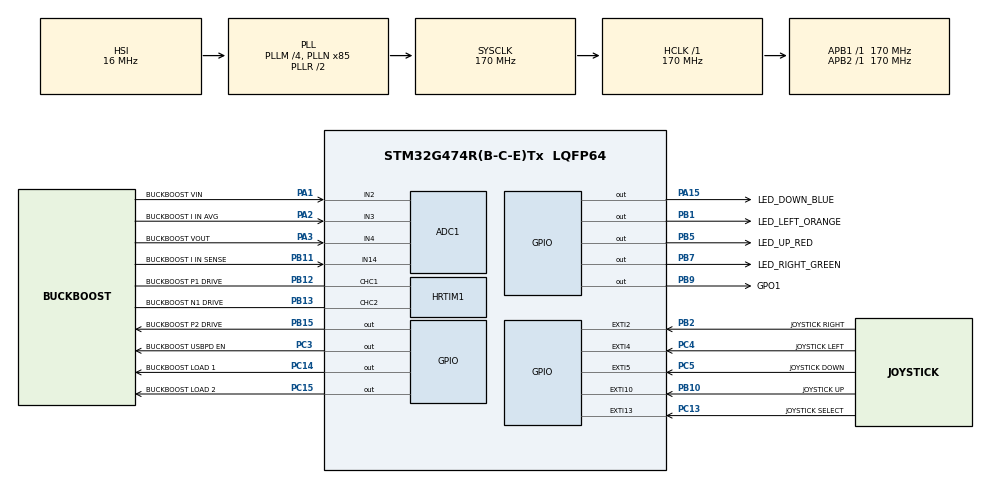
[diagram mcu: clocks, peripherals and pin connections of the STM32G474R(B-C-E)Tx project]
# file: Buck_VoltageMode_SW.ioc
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ADC1.Channel-0\#ChannelRegularConversion=ADC_CHANNEL_4
ADC1.DMAContinuousRequests=DISABLE
ADC1.DataAlign=ADC_DATAALIGN_RIGHT
ADC1.ExternalTrigConv=ADC_EXTERNALTRIG_HRTIM_TRG1
ADC1.NbrOfConversionFlag=1
ADC1.Offset-0\#ChannelRegularConversion=REF
ADC1.OffsetNumber-0\#ChannelRegularConversion=ADC_OFFSET_NONE
ADC1.Overrun=ADC_OVR_DATA_OVERWRITTEN
ADC1.Rank-0\#ChannelRegularConversion=1
ADC1.SamplingTime-0\#ChannelRegularConversion=ADC_SAMPLETIME_2CYCLES_5
ADC1.master=1
HRTIM1.ADCTrigger1_Source1=HRTIM_ADCTRIGGEREVENT13_TIMERC_CMP3
HRTIM1.ADCTrigger_Id1=HRTIM_ADCTRIGGER_1
HRTIM1.CompareUnit1-Output_TC1TC2=HRTIM_COMPAREUNIT_1
HRTIM1.CompareUnit2-Output_TC1TC2=HRTIM_COMPAREUNIT_2
HRTIM1.CompareUnit3-Output_TC1TC2=HRTIM_COMPAREUNIT_3
HRTIM1.CompareValue1-Output_TC1TC2=0
HRTIM1.CompareValue2-Output_TC1TC2=24480
HRTIM1.CompareValue3-Output_TC1TC2=50
HRTIM1.DeadTimeInsertion-Output_TC1TC2=HRTIM_TIMDEADTIMEINSERTION_ENABLED
HRTIM1.FallingValue-Output_TC1TC2=300
HRTIM1.FaultLevel1-Output_TC1TC2=HRTIM_OUTPUTFAULTLEVEL_INACTIVE
HRTIM1.FaultLevel2-Output_TC1TC2=HRTIM_OUTPUTFAULTLEVEL_INACTIVE
HRTIM1.GreaterCMP1_TC=HRTIM_TIMERGTCMP1_EQUAL
HRTIM1.NumberADCTriggerSource1=1
HRTIM1.NumberResetSource1-Output_TC1TC2=2
HRTIM1.NumberSetSource1-Output_TC1TC2=1
HRTIM1.Periode_TC=27200
HRTIM1.PreloadEnable-Output_TC1TC2=HRTIM_PRELOAD_DISABLED
HRTIM1.ResetOutput1_Source1-Output_TC1TC2=HRTIM_OUTPUTRESET_TIMCMP1
HRTIM1.ResetOutput1_Source2-Output_TC1TC2=HRTIM_OUTPUTRESET_TIMCMP2
HRTIM1.RisingValue-Output_TC1TC2=75
HRTIM1.SetOutput1_Source1-Output_TC1TC2=HRTIM_OUTPUTSET_TIMPER
Mcu.Family=STM32G4
Mcu.Name=STM32G474R(B-C-E)Tx
Mcu.Package=LQFP64
NVIC.ADC1_2_IRQn=true\:0\:0\:false\:false\:true\:true\:true\:true
NVIC.EXTI15_10_IRQn=true\:0\:0\:false\:false\:true\:true\:true\:true
NVIC.EXTI2_IRQn=true\:0\:0\:false\:false\:true\:true\:true\:true
NVIC.EXTI4_IRQn=true\:0\:0\:false\:false\:true\:true\:true\:true
NVIC.EXTI9_5_IRQn=true\:0\:0\:false\:false\:true\:true\:true\:true
NVIC.PriorityGroup=NVIC_PRIORITYGROUP_4
PA1.GPIO_Label=BUCKBOOST VIN
PA1.Mode=IN2-Single-Ended
PA1.Signal=ADC1_IN2
PA13.GPIO_Label=T_SWDIO
PA13.Mode=Trace_Asynchronous_SW
PA13.Signal=SYS_JTMS-SWDIO
PA14.GPIO_Label=T_SWCLK
PA14.Mode=Trace_Asynchronous_SW
PA14.Signal=SYS_JTCK-SWCLK
PA15.GPIO_Label=LED_DOWN_BLUE
PA15.GPIO_PuPd=GPIO_NOPULL
PA15.Signal=GPIO_Output
PA2.GPIO_Label=BUCKBOOST I IN AVG
PA2.Mode=IN3-Single-Ended
PA2.Signal=ADC1_IN3
PA3.GPIO_Label=BUCKBOOST VOUT
PA3.Mode=IN4-Single-Ended
PA3.Signal=ADC1_IN4
PB1.GPIO_Label=LED_LEFT_ORANGE
PB1.GPIO_PuPd=GPIO_NOPULL
PB1.Signal=GPIO_Output
PB10.GPIO_Label=JOYSTICK UP
PB10.GPIO_PuPd=GPIO_PULLUP
PB10.Signal=GPXTI10
PB11.GPIO_Label=BUCKBOOST I IN SENSE
PB11.Mode=IN14-Single-Ended
PB11.Signal=ADC1_IN14
PB12.GPIO_Label=BUCKBOOST P1 DRIVE
PB12.Mode=Output_TC1TC2
PB12.Signal=HRTIM1_CHC1
PB13.GPIO_Label=BUCKBOOST N1 DRIVE
PB13.Mode=Output_TC1TC2
PB13.Signal=HRTIM1_CHC2
PB14.GPIO_Label=BUCKBOOST N2 DRIVE
PB14.Signal=HRTIM1_CHD1
PB15.GPIO_Label=BUCKBOOST P2 DRIVE
PB15.Signal=GPIO_Output
PB2.GPIO_Label=JOYSTICK RIGHT
PB2.GPIO_ModeDefaultEXTI=GPIO_MODE_IT_RISING
PB2.GPIO_PuPd=GPIO_PULLUP
PB2.Signal=GPXTI2
PB3.GPIO_Label=T_SWO
PB3.Mode=Trace_Asynchronous_SW
PB3.Signal=SYS_JTDO-SWO
PB5.GPIO_Label=LED_UP_RED
PB5.GPIO_PuPd=GPIO_NOPULL
PB5.Signal=GPIO_Output
PB7.GPIO_Label=LED_RIGHT_GREEN
PB7.GPIO_PuPd=GPIO_NOPULL
PB7.Signal=GPIO_Output
PB9.GPIO_Label=GPO1
PB9.GPIO_Speed=GPIO_SPEED_FREQ_VERY_HIGH
PB9.Signal=GPIO_Output
PC10.Signal=USART3_TX
PC11.Signal=USART3_RX
PC13.GPIO_Label=JOYSTICK SELECT
PC13.GPIO_PuPd=GPIO_PULLUP
PC13.Signal=GPXTI13
PC14-OSC32_IN.GPIO_Label=BUCKBOOST LOAD 1
PC14-OSC32_IN.Signal=GPIO_Output
PC15-OSC32_OUT.GPIO_Label=BUCKBOOST LOAD 2
PC15-OSC32_OUT.Signal=GPIO_Output
PC3.GPIO_Label=BUCKBOOST USBPD EN
PC3.PinState=GPIO_PIN_SET
PC3.Signal=GPIO_Output
PC4.GPIO_Label=JOYSTICK LEFT
PC4.GPIO_PuPd=GPIO_PULLUP
PC4.Signal=GPXTI4
PC5.GPIO_Label=JOYSTICK DOWN
PC5.GPIO_PuPd=GPIO_PULLUP
PC5.Signal=GPXTI5
ProjectManager.HeapSize=0x200
ProjectManager.StackSize=0x400
ProjectManager.TargetToolchain=EWARM V8.32
RCC.ADC12CLockSelection=RCC_ADC12CLKSOURCE_PLL
RCC.ADC12Freq_Value=34000000
RCC.ADC345Freq_Value=170000000
RCC.AHBFreq_Value=170000000
RCC.APB1Freq_Value=170000000
RCC.APB1TimFreq_Value=170000000
RCC.APB2Freq_Value=170000000
RCC.APB2TimFreq_Value=170000000
RCC.CortexFreq_Value=170000000
RCC.EXTERNAL_CLOCK_VALUE=12288000
RCC.HCLKFreq_Value=170000000
RCC.HSE_VALUE=24000000
RCC.HSI48_VALUE=48000000
RCC.HSI_VALUE=16000000
RCC.LSE_VALUE=32768
RCC.PLLM=RCC_PLLM_DIV4
RCC.PLLN=85
RCC.PLLP=RCC_PLLP_DIV10
RCC.SYSCLKFreq_VALUE=170000000
RCC.SYSCLKSource=RCC_SYSCLKSOURCE_PLLCLK
RCC.USBFreq_Value=170000000
RCC.VCOOutputFreq_Value=340000000
VP_RTC_VS_RTC_Activate.Mode=RTC_Enabled
VP_SYS_VS_DBSignals.Mode=DisableDeadBatterySignals
board=NUCLEO-G474RE

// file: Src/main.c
/* USER CODE BEGIN Header */
/**
  ******************************************************************************
  * @file         main.c
  * @author       STMicroelectronics
  * @brief        Main program body
  * @details      This file provides main function and peripheral init
                  functions
  ******************************************************************************
  *
  * Copyright (c) 2022 STMicroelectronics.
  * All rights reserved.
  *
  * This software is licensed under terms that can be found in the LICENSE file in
  * the root directory of this software component.
  * If no LICENSE file comes with this software, it is provided AS-IS.
  ******************************************************************************
  *
 * @history Date       Version Person  Change
 * @history ---------- ------- ------- ----------------------------------------
  * @history 2020-02-14 1.0     PBo     Created with the support of Biricha Digital Power LTd
  * @history 2022-01-04 1.0     RGo     Header modifications
  * @history 2022-01-10 2.0     NSa     Moved Systick_Handler to ISR file and Load_Handler to
  *                                     app code file
 */

/* USER CODE END Header */
#include "main.h"

/* USER CODE BEGIN Includes */
#include "stm32g4xx_it.h"
/* USER CODE END Includes */

/* USER CODE BEGIN PD */
//#define RUN_OPEN_LOOP
/* USER CODE END PD */

ADC_HandleTypeDef hadc1;

HRTIM_HandleTypeDef hhrtim1;

RTC_HandleTypeDef hrtc;

/* USER CODE BEGIN PV */
int16_t bTransient = 0;

extern G4_Demo_t Demo;
extern WAVEFORM_DISPLAY_INFO_t Waveform;

/* USER CODE END PV */

void SystemClock_Config(void);
static void MX_GPIO_Init(void);
static void MX_RTC_Init(void);
static void MX_ADC1_Init(void);
static void MX_HRTIM1_Init(void);

int main(void)
{

  /* MCU Configuration--------------------------------------------------------*/

  /* Reset of all peripherals, Initializes the Flash interface and the Systick. */
  HAL_Init();

  /* Configure the system clock */
  SystemClock_Config();

  /* Initialize all configured peripherals */
  MX_GPIO_Init();
  MX_RTC_Init();
  MX_ADC1_Init();
  MX_HRTIM1_Init();
  /* USER CODE BEGIN 2 */

  /* Perform an ADC automatic self-calibration and enable ADC */
  if (HAL_ADCEx_Calibration_Start(&hadc1, ADC_SINGLE_ENDED) != HAL_OK)
  {
    /* Configuration Error */
    Error_Handler();
  }

  /* Initialise 3P3Z controller with our 2P2Z coeffs, REF and ADC value */
  CNTRL_3p3zFloatInit(&Demo.CtrlFloat, B0, B1, B2, B3,
                      A1, A2, A3, K,
                      REF, 0, DUTY_TICKS_MAX );

#ifndef RUN_OPEN_LOOP
  /* Start the ADC and enable the end of conversion interrupt */
  if (HAL_ADC_Start_IT(&hadc1) != HAL_OK)
  {
    /* Configuration Error */
    Error_Handler();
  }
#endif

  /* Calculate PWM period and update timer register */
  Demo.periodBuck = HAL_HRTIM_FreqToTicks(&hhrtim1, HRTIM_TIMERINDEX_TIMER_C, SwitchFreq);
  __HAL_HRTIM_SETPERIOD(&hhrtim1, HRTIM_TIMERINDEX_TIMER_C, Demo.periodBuck);

#ifdef RUN_OPEN_LOOP
  /* Open loop so run with a small fixed duty cycle */
  __HAL_HRTIM_SETCOMPARE(&hhrtim1, HRTIM_TIMERINDEX_TIMER_C, HRTIM_COMPAREUNIT_1, Demo.periodBuck * 5 / 100);
#else
  /* Set max duty to 80% of period */
  __HAL_HRTIM_SETCOMPARE(&hhrtim1, HRTIM_TIMERINDEX_TIMER_C, HRTIM_COMPAREUNIT_1, Demo.periodBuck * 80 / 100);
#endif

  /* Start the PWMs */
  HAL_HRTIM_WaveformOutputStart(&hhrtim1, HRTIM_OUTPUT_TC1 | HRTIM_OUTPUT_TC2);
  HAL_HRTIM_WaveformCounterStart(&hhrtim1, HRTIM_TIMERID_TIMER_C);

  /* Enable T6 for Buck only mode usage */
  HAL_GPIO_WritePin(GPIOB, BUCKBOOST_P2_DRIVE_Pin, GPIO_PIN_SET);

  Waveform.m_State = WAVEFORM_WAIT_FOR_TRIGGER;

  /* USER CODE END 2 */

  /* Infinite loop */
  /* USER CODE BEGIN WHILE */
  while (1)
  {
    if (bTransient)
    {
      HAL_GPIO_WritePin(GPIOA, LED_DOWN_BLUE_Pin, GPIO_PIN_SET);

      // Toggle both Loads
      HAL_GPIO_TogglePin(GPIOC, BUCKBOOST_LOAD_1_Pin);
      HAL_GPIO_TogglePin(GPIOC, BUCKBOOST_LOAD_2_Pin);
      HAL_GPIO_TogglePin(GPIOB, LED_RIGHT_GREEN_Pin);
      HAL_GPIO_TogglePin(GPIOB, LED_LEFT_ORANGE_Pin);

      // Delay
      HAL_Delay(500);
    } else {
      HAL_GPIO_WritePin(GPIOA, LED_DOWN_BLUE_Pin, GPIO_PIN_RESET);
    }

    /* USER CODE END WHILE */

  }
}

void SystemClock_Config(void)
{
  RCC_OscInitTypeDef RCC_OscInitStruct = {0};
  RCC_ClkInitTypeDef RCC_ClkInitStruct = {0};

  /** Configure the main internal regulator output voltage
  */
  HAL_PWREx_ControlVoltageScaling(PWR_REGULATOR_VOLTAGE_SCALE1_BOOST);

  /** Initializes the RCC Oscillators according to the specified parameters
  * in the RCC_OscInitTypeDef structure.
  */
  RCC_OscInitStruct.OscillatorType = RCC_OSCILLATORTYPE_HSI|RCC_OSCILLATORTYPE_LSI;
  RCC_OscInitStruct.HSIState = RCC_HSI_ON;
  RCC_OscInitStruct.HSICalibrationValue = RCC_HSICALIBRATION_DEFAULT;
  RCC_OscInitStruct.LSIState = RCC_LSI_ON;
  RCC_OscInitStruct.PLL.PLLState = RCC_PLL_ON;
  RCC_OscInitStruct.PLL.PLLSource = RCC_PLLSOURCE_HSI;
  RCC_OscInitStruct.PLL.PLLM = RCC_PLLM_DIV4;
  RCC_OscInitStruct.PLL.PLLN = 85;
  RCC_OscInitStruct.PLL.PLLP = RCC_PLLP_DIV10;
  RCC_OscInitStruct.PLL.PLLQ = RCC_PLLQ_DIV2;
  RCC_OscInitStruct.PLL.PLLR = RCC_PLLR_DIV2;
  if (HAL_RCC_OscConfig(&RCC_OscInitStruct) != HAL_OK)
  {
    Error_Handler();
  }

  /** Initializes the CPU, AHB and APB buses clocks
  */
  RCC_ClkInitStruct.ClockType = RCC_CLOCKTYPE_HCLK|RCC_CLOCKTYPE_SYSCLK
                              |RCC_CLOCKTYPE_PCLK1|RCC_CLOCKTYPE_PCLK2;
  RCC_ClkInitStruct.SYSCLKSource = RCC_SYSCLKSOURCE_PLLCLK;
  RCC_ClkInitStruct.AHBCLKDivider = RCC_SYSCLK_DIV1;
  RCC_ClkInitStruct.APB1CLKDivider = RCC_HCLK_DIV1;
  RCC_ClkInitStruct.APB2CLKDivider = RCC_HCLK_DIV1;

  if (HAL_RCC_ClockConfig(&RCC_ClkInitStruct, FLASH_LATENCY_4) != HAL_OK)
  {
    Error_Handler();
  }
}

static void MX_ADC1_Init(void)
{

  ADC_MultiModeTypeDef multimode = {0};
  ADC_ChannelConfTypeDef sConfig = {0};

  /** Common config
  */
  hadc1.Instance = ADC1;
  hadc1.Init.ClockPrescaler = ADC_CLOCK_SYNC_PCLK_DIV4;
  hadc1.Init.Resolution = ADC_RESOLUTION_12B;
  hadc1.Init.DataAlign = ADC_DATAALIGN_RIGHT;
  hadc1.Init.GainCompensation = 0;
  hadc1.Init.ScanConvMode = ADC_SCAN_DISABLE;
  hadc1.Init.EOCSelection = ADC_EOC_SINGLE_CONV;
  hadc1.Init.LowPowerAutoWait = DISABLE;
  hadc1.Init.ContinuousConvMode = DISABLE;
  hadc1.Init.NbrOfConversion = 1;
  hadc1.Init.DiscontinuousConvMode = DISABLE;
  hadc1.Init.ExternalTrigConv = ADC_EXTERNALTRIG_HRTIM_TRG1;
  hadc1.Init.ExternalTrigConvEdge = ADC_EXTERNALTRIGCONVEDGE_RISING;
  hadc1.Init.DMAContinuousRequests = DISABLE;
  hadc1.Init.Overrun = ADC_OVR_DATA_OVERWRITTEN;
  hadc1.Init.OversamplingMode = DISABLE;
  if (HAL_ADC_Init(&hadc1) != HAL_OK)
  {
    Error_Handler();
  }

  /** Configure the ADC multi-mode
  */
  multimode.Mode = ADC_MODE_INDEPENDENT;
  if (HAL_ADCEx_MultiModeConfigChannel(&hadc1, &multimode) != HAL_OK)
  {
    Error_Handler();
  }

  /** Configure Regular Channel
  */
  sConfig.Channel = ADC_CHANNEL_4;
  sConfig.Rank = ADC_REGULAR_RANK_1;
  sConfig.SamplingTime = ADC_SAMPLETIME_2CYCLES_5;
  sConfig.SingleDiff = ADC_SINGLE_ENDED;
  sConfig.OffsetNumber = ADC_OFFSET_NONE;
  sConfig.Offset = REF;
  if (HAL_ADC_ConfigChannel(&hadc1, &sConfig) != HAL_OK)
  {
    Error_Handler();
  }
  /* USER CODE BEGIN ADC1_Init 2 */
  /* CubeMX enables DMA interrupt even if not configured */
  HAL_NVIC_DisableIRQ(DMA1_Channel1_IRQn);
  /* USER CODE END ADC1_Init 2 */

}

static void MX_HRTIM1_Init(void)
{

  HRTIM_ADCTriggerCfgTypeDef pADCTriggerCfg = {0};
  HRTIM_TimeBaseCfgTypeDef pTimeBaseCfg = {0};
  HRTIM_TimerCtlTypeDef pTimerCtl = {0};
  HRTIM_TimerCfgTypeDef pTimerCfg = {0};
  HRTIM_CompareCfgTypeDef pCompareCfg = {0};
  HRTIM_DeadTimeCfgTypeDef pDeadTimeCfg = {0};
  HRTIM_OutputCfgTypeDef pOutputCfg = {0};

  hhrtim1.Instance = HRTIM1;
  hhrtim1.Init.HRTIMInterruptResquests = HRTIM_IT_NONE;
  hhrtim1.Init.SyncOptions = HRTIM_SYNCOPTION_NONE;
  if (HAL_HRTIM_Init(&hhrtim1) != HAL_OK)
  {
    Error_Handler();
  }
  if (HAL_HRTIM_DLLCalibrationStart(&hhrtim1, HRTIM_CALIBRATIONRATE_3) != HAL_OK)
  {
    Error_Handler();
  }
  if (HAL_HRTIM_PollForDLLCalibration(&hhrtim1, 10) != HAL_OK)
  {
    Error_Handler();
  }
  pADCTriggerCfg.UpdateSource = HRTIM_ADCTRIGGERUPDATE_TIMER_C;
  pADCTriggerCfg.Trigger = HRTIM_ADCTRIGGEREVENT13_TIMERC_CMP3;
  if (HAL_HRTIM_ADCTriggerConfig(&hhrtim1, HRTIM_ADCTRIGGER_1, &pADCTriggerCfg) != HAL_OK)
  {
    Error_Handler();
  }
  if (HAL_HRTIM_ADCPostScalerConfig(&hhrtim1, HRTIM_ADCTRIGGER_1, 0x0) != HAL_OK)
  {
    Error_Handler();
  }
  pTimeBaseCfg.Period = 27200;
  pTimeBaseCfg.RepetitionCounter = 0x00;
  pTimeBaseCfg.PrescalerRatio = HRTIM_PRESCALERRATIO_MUL32;
  pTimeBaseCfg.Mode = HRTIM_MODE_CONTINUOUS;
  if (HAL_HRTIM_TimeBaseConfig(&hhrtim1, HRTIM_TIMERINDEX_TIMER_C, &pTimeBaseCfg) != HAL_OK)
  {
    Error_Handler();
  }
  pTimerCtl.UpDownMode = HRTIM_TIMERUPDOWNMODE_UP;
  pTimerCtl.TrigHalf = HRTIM_TIMERTRIGHALF_DISABLED;
  pTimerCtl.GreaterCMP3 = HRTIM_TIMERGTCMP3_EQUAL;
  pTimerCtl.GreaterCMP1 = HRTIM_TIMERGTCMP1_EQUAL;
  pTimerCtl.DualChannelDacEnable = HRTIM_TIMER_DCDE_DISABLED;
  if (HAL_HRTIM_WaveformTimerControl(&hhrtim1, HRTIM_TIMERINDEX_TIMER_C, &pTimerCtl) != HAL_OK)
  {
    Error_Handler();
  }
  pTimerCfg.InterruptRequests = HRTIM_TIM_IT_NONE;
  pTimerCfg.DMARequests = HRTIM_TIM_DMA_NONE;
  pTimerCfg.DMASrcAddress = 0x0000;
  pTimerCfg.DMADstAddress = 0x0000;
  pTimerCfg.DMASize = 0x1;
  pTimerCfg.HalfModeEnable = HRTIM_HALFMODE_DISABLED;
  pTimerCfg.InterleavedMode = HRTIM_INTERLEAVED_MODE_DISABLED;
  pTimerCfg.StartOnSync = HRTIM_SYNCSTART_DISABLED;
  pTimerCfg.ResetOnSync = HRTIM_SYNCRESET_DISABLED;
  pTimerCfg.DACSynchro = HRTIM_DACSYNC_NONE;
  pTimerCfg.PreloadEnable = HRTIM_PRELOAD_DISABLED;
  pTimerCfg.UpdateGating = HRTIM_UPDATEGATING_INDEPENDENT;
  pTimerCfg.BurstMode = HRTIM_TIMERBURSTMODE_MAINTAINCLOCK;
  pTimerCfg.RepetitionUpdate = HRTIM_UPDATEONREPETITION_DISABLED;
  pTimerCfg.PushPull = HRTIM_TIMPUSHPULLMODE_DISABLED;
  pTimerCfg.FaultEnable = HRTIM_TIMFAULTENABLE_NONE;
  pTimerCfg.FaultLock = HRTIM_TIMFAULTLOCK_READWRITE;
  pTimerCfg.DeadTimeInsertion = HRTIM_TIMDEADTIMEINSERTION_ENABLED;
  pTimerCfg.DelayedProtectionMode = HRTIM_TIMER_A_B_C_DELAYEDPROTECTION_DISABLED;
  pTimerCfg.UpdateTrigger = HRTIM_TIMUPDATETRIGGER_NONE;
  pTimerCfg.ResetTrigger = HRTIM_TIMRESETTRIGGER_NONE;
  pTimerCfg.ResetUpdate = HRTIM_TIMUPDATEONRESET_DISABLED;
  pTimerCfg.ReSyncUpdate = HRTIM_TIMERESYNC_UPDATE_UNCONDITIONAL;
  if (HAL_HRTIM_WaveformTimerConfig(&hhrtim1, HRTIM_TIMERINDEX_TIMER_C, &pTimerCfg) != HAL_OK)
  {
    Error_Handler();
  }
  pCompareCfg.CompareValue = 0;
  if (HAL_HRTIM_WaveformCompareConfig(&hhrtim1, HRTIM_TIMERINDEX_TIMER_C, HRTIM_COMPAREUNIT_1, &pCompareCfg) != HAL_OK)
  {
    Error_Handler();
  }
  pCompareCfg.CompareValue = 24480;
  pCompareCfg.AutoDelayedMode = HRTIM_AUTODELAYEDMODE_REGULAR;
  pCompareCfg.AutoDelayedTimeout = 0x0000;

  if (HAL_HRTIM_WaveformCompareConfig(&hhrtim1, HRTIM_TIMERINDEX_TIMER_C, HRTIM_COMPAREUNIT_2, &pCompareCfg) != HAL_OK)
  {
    Error_Handler();
  }
  pCompareCfg.CompareValue = 50;
  if (HAL_HRTIM_WaveformCompareConfig(&hhrtim1, HRTIM_TIMERINDEX_TIMER_C, HRTIM_COMPAREUNIT_3, &pCompareCfg) != HAL_OK)
  {
    Error_Handler();
  }
  pDeadTimeCfg.Prescaler = HRTIM_TIMDEADTIME_PRESCALERRATIO_MUL8;
  pDeadTimeCfg.RisingValue = 75;
  pDeadTimeCfg.RisingSign = HRTIM_TIMDEADTIME_RISINGSIGN_POSITIVE;
  pDeadTimeCfg.RisingLock = HRTIM_TIMDEADTIME_RISINGLOCK_WRITE;
  pDeadTimeCfg.RisingSignLock = HRTIM_TIMDEADTIME_RISINGSIGNLOCK_WRITE;
  pDeadTimeCfg.FallingValue = 300;
  pDeadTimeCfg.FallingSign = HRTIM_TIMDEADTIME_FALLINGSIGN_POSITIVE;
  pDeadTimeCfg.FallingLock = HRTIM_TIMDEADTIME_FALLINGLOCK_WRITE;
  pDeadTimeCfg.FallingSignLock = HRTIM_TIMDEADTIME_FALLINGSIGNLOCK_WRITE;
  if (HAL_HRTIM_DeadTimeConfig(&hhrtim1, HRTIM_TIMERINDEX_TIMER_C, &pDeadTimeCfg) != HAL_OK)
  {
    Error_Handler();
  }
  pOutputCfg.Polarity = HRTIM_OUTPUTPOLARITY_HIGH;
  pOutputCfg.SetSource = HRTIM_OUTPUTSET_TIMPER;
  pOutputCfg.ResetSource = HRTIM_OUTPUTRESET_TIMCMP1|HRTIM_OUTPUTRESET_TIMCMP2;
  pOutputCfg.IdleMode = HRTIM_OUTPUTIDLEMODE_NONE;
  pOutputCfg.IdleLevel = HRTIM_OUTPUTIDLELEVEL_INACTIVE;
  pOutputCfg.FaultLevel = HRTIM_OUTPUTFAULTLEVEL_INACTIVE;
  pOutputCfg.ChopperModeEnable = HRTIM_OUTPUTCHOPPERMODE_DISABLED;
  pOutputCfg.BurstModeEntryDelayed = HRTIM_OUTPUTBURSTMODEENTRY_REGULAR;
  if (HAL_HRTIM_WaveformOutputConfig(&hhrtim1, HRTIM_TIMERINDEX_TIMER_C, HRTIM_OUTPUT_TC1, &pOutputCfg) != HAL_OK)
  {
    Error_Handler();
  }
  pOutputCfg.SetSource = HRTIM_OUTPUTSET_NONE;
  pOutputCfg.ResetSource = HRTIM_OUTPUTRESET_NONE;
  if (HAL_HRTIM_WaveformOutputConfig(&hhrtim1, HRTIM_TIMERINDEX_TIMER_C, HRTIM_OUTPUT_TC2, &pOutputCfg) != HAL_OK)
  {
    Error_Handler();
  }
  HAL_HRTIM_MspPostInit(&hhrtim1);

}

static void MX_RTC_Init(void)
{

  /** Initialize RTC Only
  */
  hrtc.Instance = RTC;
  hrtc.Init.HourFormat = RTC_HOURFORMAT_24;
  hrtc.Init.AsynchPrediv = 127;
  hrtc.Init.SynchPrediv = 255;
  hrtc.Init.OutPut = RTC_OUTPUT_DISABLE;
  hrtc.Init.OutPutRemap = RTC_OUTPUT_REMAP_NONE;
  hrtc.Init.OutPutPolarity = RTC_OUTPUT_POLARITY_HIGH;
  hrtc.Init.OutPutType = RTC_OUTPUT_TYPE_OPENDRAIN;
  hrtc.Init.OutPutPullUp = RTC_OUTPUT_PULLUP_NONE;
  if (HAL_RTC_Init(&hrtc) != HAL_OK)
  {
    Error_Handler();
  }

}

static void MX_GPIO_Init(void)
{
  GPIO_InitTypeDef GPIO_InitStruct = {0};

  /* GPIO Ports Clock Enable */
  __HAL_RCC_GPIOC_CLK_ENABLE();
  __HAL_RCC_GPIOA_CLK_ENABLE();
  __HAL_RCC_GPIOB_CLK_ENABLE();

  /*Configure GPIO pin Output Level */
  HAL_GPIO_WritePin(GPIOC, BUCKBOOST_LOAD_1_Pin|BUCKBOOST_LOAD_2_Pin, GPIO_PIN_RESET);

  /*Configure GPIO pin Output Level */
  HAL_GPIO_WritePin(BUCKBOOST_USBPD_EN_GPIO_Port, BUCKBOOST_USBPD_EN_Pin, GPIO_PIN_SET);

  /*Configure GPIO pin Output Level */
  HAL_GPIO_WritePin(GPIOB, LED_LEFT_ORANGE_Pin|BUCKBOOST_P2_DRIVE_Pin|LED_UP_RED_Pin|LED_RIGHT_GREEN_Pin
                          |GPO1_Pin, GPIO_PIN_RESET);

  /*Configure GPIO pin Output Level */
  HAL_GPIO_WritePin(LED_DOWN_BLUE_GPIO_Port, LED_DOWN_BLUE_Pin, GPIO_PIN_RESET);

  /*Configure GPIO pins : JOYSTICK_SELECT_Pin JOYSTICK_LEFT_Pin JOYSTICK_DOWN_Pin */
  GPIO_InitStruct.Pin = JOYSTICK_SELECT_Pin|JOYSTICK_LEFT_Pin|JOYSTICK_DOWN_Pin;
  GPIO_InitStruct.Mode = GPIO_MODE_IT_RISING;
  GPIO_InitStruct.Pull = GPIO_PULLUP;
  HAL_GPIO_Init(GPIOC, &GPIO_InitStruct);

  /*Configure GPIO pins : BUCKBOOST_LOAD_1_Pin BUCKBOOST_LOAD_2_Pin BUCKBOOST_USBPD_EN_Pin */
  GPIO_InitStruct.Pin = BUCKBOOST_LOAD_1_Pin|BUCKBOOST_LOAD_2_Pin|BUCKBOOST_USBPD_EN_Pin;
  GPIO_InitStruct.Mode = GPIO_MODE_OUTPUT_PP;
  GPIO_InitStruct.Pull = GPIO_NOPULL;
  GPIO_InitStruct.Speed = GPIO_SPEED_FREQ_LOW;
  HAL_GPIO_Init(GPIOC, &GPIO_InitStruct);

  /*Configure GPIO pins : LED_LEFT_ORANGE_Pin BUCKBOOST_P2_DRIVE_Pin LED_UP_RED_Pin LED_RIGHT_GREEN_Pin */
  GPIO_InitStruct.Pin = LED_LEFT_ORANGE_Pin|BUCKBOOST_P2_DRIVE_Pin|LED_UP_RED_Pin|LED_RIGHT_GREEN_Pin;
  GPIO_InitStruct.Mode = GPIO_MODE_OUTPUT_PP;
  GPIO_InitStruct.Pull = GPIO_NOPULL;
  GPIO_InitStruct.Speed = GPIO_SPEED_FREQ_LOW;
  HAL_GPIO_Init(GPIOB, &GPIO_InitStruct);

  /*Configure GPIO pins : JOYSTICK_RIGHT_Pin JOYSTICK_UP_Pin */
  GPIO_InitStruct.Pin = JOYSTICK_RIGHT_Pin|JOYSTICK_UP_Pin;
  GPIO_InitStruct.Mode = GPIO_MODE_IT_RISING;
  GPIO_InitStruct.Pull = GPIO_PULLUP;
  HAL_GPIO_Init(GPIOB, &GPIO_InitStruct);

  /*Configure GPIO pin : LED_DOWN_BLUE_Pin */
  GPIO_InitStruct.Pin = LED_DOWN_BLUE_Pin;
  GPIO_InitStruct.Mode = GPIO_MODE_OUTPUT_PP;
  GPIO_InitStruct.Pull = GPIO_NOPULL;
  GPIO_InitStruct.Speed = GPIO_SPEED_FREQ_LOW;
  HAL_GPIO_Init(LED_DOWN_BLUE_GPIO_Port, &GPIO_InitStruct);

  /*Configure GPIO pins : PC10 PC11 */
  GPIO_InitStruct.Pin = GPIO_PIN_10|GPIO_PIN_11;
  GPIO_InitStruct.Mode = GPIO_MODE_AF_PP;
  GPIO_InitStruct.Pull = GPIO_NOPULL;
  GPIO_InitStruct.Speed = GPIO_SPEED_FREQ_LOW;
  GPIO_InitStruct.Alternate = GPIO_AF7_USART3;
  HAL_GPIO_Init(GPIOC, &GPIO_InitStruct);

  /*Configure GPIO pin : GPO1_Pin */
  GPIO_InitStruct.Pin = GPO1_Pin;
  GPIO_InitStruct.Mode = GPIO_MODE_OUTPUT_PP;
  GPIO_InitStruct.Pull = GPIO_NOPULL;
  GPIO_InitStruct.Speed = GPIO_SPEED_FREQ_VERY_HIGH;
  HAL_GPIO_Init(GPO1_GPIO_Port, &GPIO_InitStruct);

  /* EXTI interrupt init*/
  HAL_NVIC_SetPriority(EXTI2_IRQn, 0, 0);
  HAL_NVIC_EnableIRQ(EXTI2_IRQn);

  HAL_NVIC_SetPriority(EXTI4_IRQn, 0, 0);
  HAL_NVIC_EnableIRQ(EXTI4_IRQn);

  HAL_NVIC_SetPriority(EXTI9_5_IRQn, 0, 0);
  HAL_NVIC_EnableIRQ(EXTI9_5_IRQn);

  HAL_NVIC_SetPriority(EXTI15_10_IRQn, 0, 0);
  HAL_NVIC_EnableIRQ(EXTI15_10_IRQn);

}

void Error_Handler(void)
{
  /* USER CODE BEGIN Error_Handler_Debug */
  /* User can add his own implementation to report the HAL error return state */
	Demo_Error_Handler();

  /* USER CODE END Error_Handler_Debug */
}
